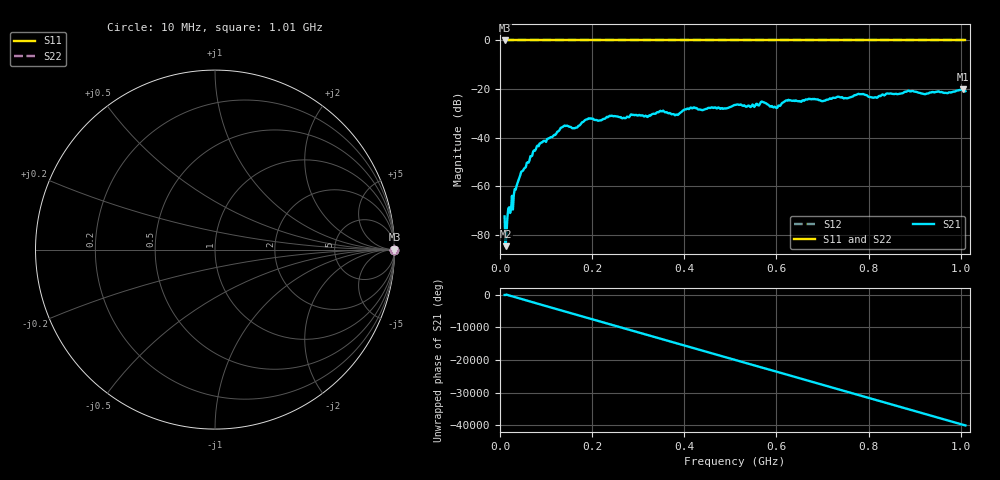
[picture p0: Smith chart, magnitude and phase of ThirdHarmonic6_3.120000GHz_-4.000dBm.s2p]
! 8/17/2025 9:15:21 AM
! C:\ANRITSUVNA\TEMP\TEMP.S2P
! CHANNEL.1
! TR.MEASUREMENT
! RAW.DATA
! RF.CORRECTION.OFF
! AVERAGING.OFF
! IF.BANDWIDTH: 5KHZ
! SWEEPTYPE:  FREQ.SWEEP(Linear)
! Reference Plane Port Info
! PORT:  PORT1  PORT2
! DISTANCE:  0  m  0  m
! TIME:  0  s  0  s
! PHASE.OFFSET:  0  deg.  0  deg.
! LOSS:  0  dB  0  dB
! REF.LOSS:  0  dB  0  dB
! REF.FREQ:  0  Hz  0  Hz
! Power Info
! POWER:  -20  dBm  -20  dBm
! EFF.POWER:  -20  dBm  -20  dBm
! SOURCE.ATTEN:  0  dB  0  dB
! TEST.ATTEN:  0  dB  0  dB
# GHZ S RI R 50.0
! FREQ.GHZ  S11RE  S11IM  S21RE  S21IM  S12RE  S12IM  S22RE  S22IM
!; PortSelection: Port_12
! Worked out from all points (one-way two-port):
!   501 points, 10 MHz to 1.01 GHz, reference 50 ohm
!   highest |S21| = -20.08 dB at 1.004 GHz (marker M1); lowest = -84.7 dB at 12 MHz (marker M2)
!   lowest |S11| = 0.0 dB at 10 MHz (marker M3)
!   |S11| at or under -10 dB: nowhere
!   |S22| runs from 0.0 to 0.0 dB; largest |S21 - S12| = 1.1
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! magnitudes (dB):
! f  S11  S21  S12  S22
! 10 MHz  0.0  -72.5  0.0  0.0
! 12 MHz  0.0  -84.7  0.0  0.0
! 44 MHz  0.0  -55.5  0.0  0.0
! 76 MHz  0.0  -45.4  0.0  0.0
! 136 MHz  0.0  -35.6  0.0  0.0
! 162 MHz  0.0  -36.2  0.0  0.0
! 178 MHz  0.0  -33.7  0.0  0.0
! 192 MHz  0.0  -32.1  0.0  0.0
! 322 MHz  0.0  -31.2  0.0  0.0
! 344 MHz  0.0  -29.6  0.0  0.0
! 384 MHz  0.0  -30.5  0.0  0.0
! 418 MHz  0.0  -27.9  0.0  0.0
! 510 MHz  0.0  -26.6  0.0  0.0
! 570 MHz  0.0  -25.3  0.0  0.0
! 598 MHz  0.0  -27.5  0.0  0.0
! 622 MHz  0.0  -24.7  0.0  0.0
! 678 MHz  0.0  -24.1  0.0  0.0
! 780 MHz  0.0  -22.1  0.0  0.0
! 814 MHz  0.0  -23.4  0.0  0.0
! 844 MHz  0.0  -21.9  0.0  0.0
! 1.004 GHz  0.0  -20.1  0.0  0.0
! 1.01 GHz  0.0  -20.9  0.0  0.0
